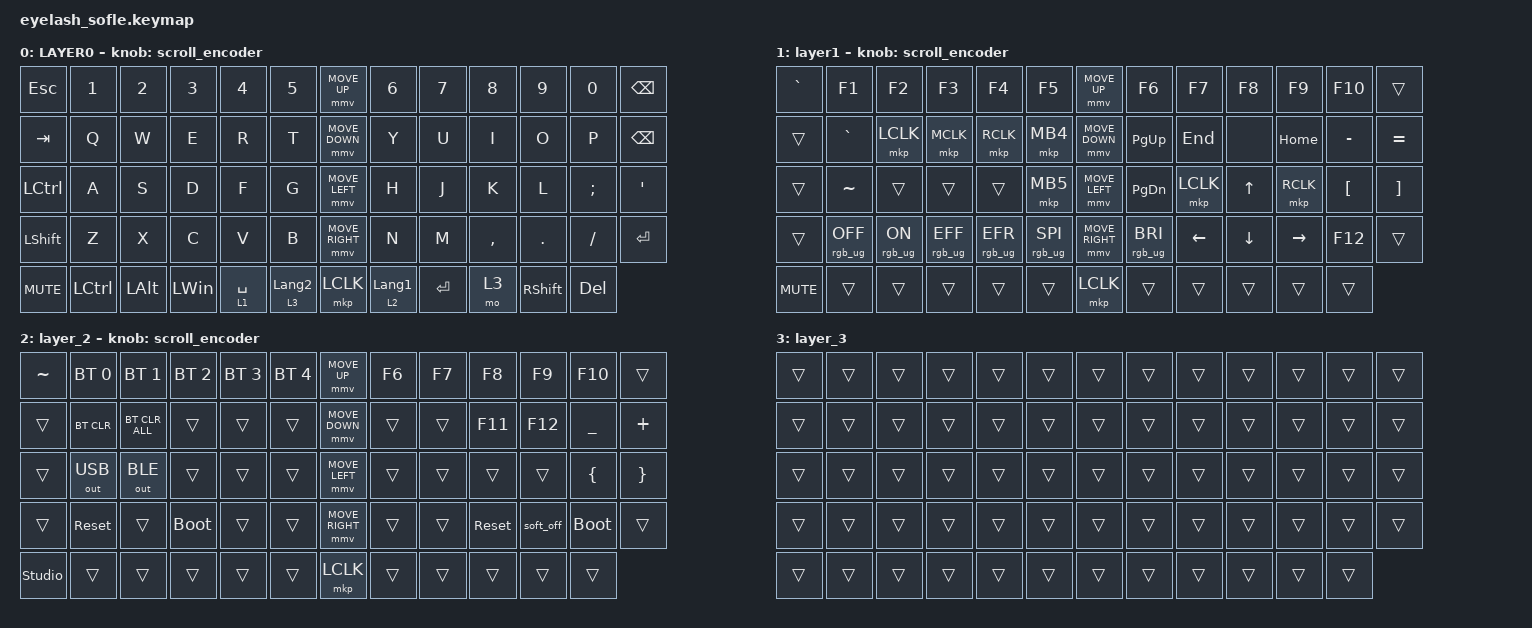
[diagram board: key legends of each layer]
#define ZMK_POINTING_DEFAULT_MOVE_VAL 1200  // 600
#define ZMK_POINTING_DEFAULT_SCRL_VAL 25   // 10

#include <input/processors.dtsi>
#include <zephyr/dt-bindings/input/input-event-codes.h>
#include <behaviors.dtsi>
#include <dt-bindings/zmk/bt.h>
#include <dt-bindings/zmk/keys.h>
#include <dt-bindings/zmk/outputs.h>
#include <dt-bindings/zmk/pointing.h>
#include <dt-bindings/zmk/rgb.h>

&mmv_input_listener { input-processors = <&zip_xy_scaler 2 1>; };

&msc_input_listener { input-processors = <&zip_scroll_scaler 2 1>; };

&msc {
    acceleration-exponent = <1>;      // 0
    time-to-max-speed-ms = <100>;       // 300
    delay-ms = <0>;                   // 0
};

&mmv {
    time-to-max-speed-ms = <500>;
    acceleration-exponent = <1>;
    trigger-period-ms = <16>;
};

/ {
    scroll_encoder: scroll_encoder {
        compatible = "zmk,behavior-sensor-rotate";
        #sensor-binding-cells = <0>;
        bindings = <&msc SCRL_DOWN>, <&msc SCRL_UP>;

        tap-ms = <100>;
    };

    behaviors {
    };

    keymap {
        compatible = "zmk,keymap";

        layer0 {
            bindings = <
&kp ESC     &kp N1     &kp N2        &kp N3        &kp N4       &kp N5              &mmv MOVE_UP     &kp N6            &kp N7     &kp N8     &kp N9           &kp N0      &kp BACKSPACE
&kp TAB     &kp Q      &kp W         &kp E         &kp R        &kp T               &mmv MOVE_DOWN   &kp Y             &kp U      &kp I      &kp O            &kp P       &kp BACKSPACE
&kp LCTRL   &kp A      &kp S         &kp D         &kp F        &kp G               &mmv MOVE_LEFT   &kp H             &kp J      &kp K      &kp L            &kp SEMI    &kp APOS
&kp LSHFT   &kp Z      &kp X         &kp C         &kp V        &kp B               &mmv MOVE_RIGHT  &kp N             &kp M      &kp COMMA  &kp DOT          &kp FSLH    &kp ENTER
&kp C_MUTE  &kp LCTRL  &kp LEFT_ALT  &kp LEFT_WIN  &lt 1 SPACE  &lt 3 LANGUAGE_2    &mkp LCLK        &lt 2 LANGUAGE_1  &kp ENTER  &mo 3      &kp RIGHT_SHIFT  &kp DELETE
            >;

            sensor-bindings = <&scroll_encoder>;
            display-name = "LAYER0";
        };

        layer_1 {
            bindings = <
&kp GRAVE   &kp F1           &kp F2          &kp F3           &kp F4           &kp F5             &mmv MOVE_UP     &kp F6           &kp F7     &kp F8        &kp F9     &kp F10           &trans
&trans      &kp GRAVE        &mkp LCLK       &mkp MCLK        &mkp RCLK        &mkp MB4           &mmv MOVE_DOWN   &kp PG_UP        &kp END    &none         &kp HOME   &kp MINUS         &kp EQUAL
&trans      &kp TILDE        &trans          &trans           &trans           &mkp MB5           &mmv MOVE_LEFT   &kp PG_DN        &mkp LCLK  &kp UP_ARROW  &mkp RCLK  &kp LEFT_BRACKET  &kp RIGHT_BRACKET
&trans      &rgb_ug RGB_OFF  &rgb_ug RGB_ON  &rgb_ug RGB_EFF  &rgb_ug RGB_EFR  &rgb_ug RGB_SPI    &mmv MOVE_RIGHT  &rgb_ug RGB_BRI  &kp LEFT   &kp DOWN      &kp RIGHT  &kp F12           &trans
&kp C_MUTE  &trans           &trans          &trans           &trans           &trans             &mkp LCLK        &trans           &trans     &trans        &trans     &trans
            >;

            display-name = "layer1";
            sensor-bindings = <&scroll_encoder>;
        };

        layer_2 {
            bindings = <
&kp TILDE       &bt BT_SEL 0  &bt BT_SEL 1    &bt BT_SEL 2  &bt BT_SEL 3  &bt BT_SEL 4    &mmv MOVE_UP     &kp F6  &kp F7  &kp F8      &kp F9     &kp F10      &trans
&trans          &bt BT_CLR    &bt BT_CLR_ALL  &trans        &trans        &trans          &mmv MOVE_DOWN   &trans  &trans  &kp F11     &kp F12    &kp UNDER    &kp PLUS
&trans          &out OUT_USB  &out OUT_BLE    &trans        &trans        &trans          &mmv MOVE_LEFT   &trans  &trans  &trans      &trans     &kp LBRC     &kp RBRC
&trans          &sys_reset    &trans          &bootloader   &trans        &trans          &mmv MOVE_RIGHT  &trans  &trans  &sys_reset  &soft_off  &bootloader  &trans
&studio_unlock  &trans        &trans          &trans        &trans        &trans          &mkp LCLK        &trans  &trans  &trans      &trans     &trans
            >;

            sensor-bindings = <&scroll_encoder>;
        };

        layer_3 {
            bindings = <
&trans  &trans  &trans  &trans  &trans  &trans    &trans  &trans  &trans  &trans  &trans  &trans  &trans
&trans  &trans  &trans  &trans  &trans  &trans    &trans  &trans  &trans  &trans  &trans  &trans  &trans
&trans  &trans  &trans  &trans  &trans  &trans    &trans  &trans  &trans  &trans  &trans  &trans  &trans
&trans  &trans  &trans  &trans  &trans  &trans    &trans  &trans  &trans  &trans  &trans  &trans  &trans
&trans  &trans  &trans  &trans  &trans  &trans    &trans  &trans  &trans  &trans  &trans  &trans
            >;
        };
    };
};
